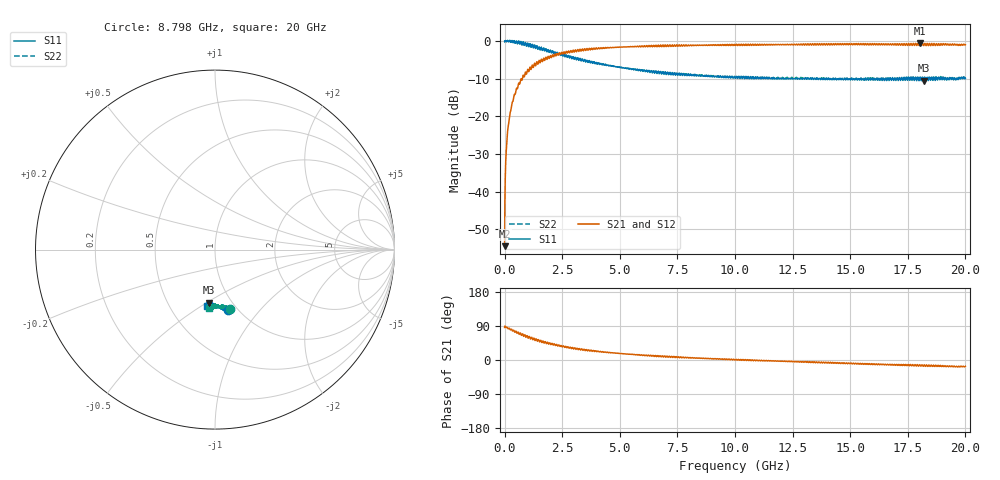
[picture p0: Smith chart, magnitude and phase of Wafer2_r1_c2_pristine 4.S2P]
!  2-Port S-parameters saved by WinCal
! VAR MeasName=S-Parameters (CALIBRATED_DATA) read from VNA (P5004A)
! VAR MeasDate=24/04/2024 15:57:28
! VAR NAME=Wafer2_r1_c2_pristine 4
! VAR FILENAME=Wafer2_r1_c2_pristine 4.S2P
! VAR DATE=24/04/2024 15:57:28
! VAR PHYS_PORTS=1,2
! VAR ObjTypeName=DATASET
! VAR IndexType=Frequency
# Hz S MA R 50
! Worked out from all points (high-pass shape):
!   4999 points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, 4.01 MHz to 20 GHz, reference 50 ohm
!   highest |S21| = -0.62 dB at 18.04 GHz (marker M1); lowest = -54.5 dB at 4.01 MHz (marker M2)
!   |S21| within 3 dB of the highest: 2.258 GHz to 2.314 GHz (56.02 MHz wide, 2.45 % of centre); 2.346 GHz to end of sweep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
!   lowest |S11| = -10.6 dB at 18.19 GHz (marker M3), VSWR 1.84, Z = 39.5 - j25.6 ohm
!   |S11| at or under -10 dB: 14.45 GHz to 14.55 GHz (91.77 MHz wide, 0.633 % of centre); 14.75 GHz to 15.14 GHz (391.8 MHz wide, 2.62 % of centre); 15.36 GHz to 15.74 GHz (387 MHz wide, 2.49 % of centre)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
!   |S22| runs from -10.3 to 0.1 dB; largest |S21 - S12| = 0.014
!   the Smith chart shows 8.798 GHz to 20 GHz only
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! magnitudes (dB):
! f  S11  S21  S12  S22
! 4.01 MHz  -0.1  -54.5  -54.4  -0.1
! 48.02 MHz  0.1  -32.8  -32.9  0.1
! 108 MHz  -0.1  -26.1  -26.0  -0.1
! 136 MHz  0.1  -23.9  -23.9  0.1
! 180 MHz  -0.2  -21.9  -21.9  -0.2
! 248.1 MHz  -0.1  -18.9  -19.0  0.0
! 348.1 MHz  -0.2  -16.2  -16.3  -0.2
! 464.1 MHz  -0.6  -14.1  -14.1  -0.6
! 624.1 MHz  -0.1  -11.2  -11.2  -0.2
! 824.2 MHz  -0.5  -9.2  -9.2  -0.5
! 1.04 GHz  -1.3  -8.1  -8.1  -1.3
! 1.56 GHz  -2.2  -5.6  -5.6  -2.2
! 2.348 GHz  -3.5  -3.6  -3.6  -3.5
! 3.341 GHz  -5.1  -2.5  -2.5  -5.1
! 4.797 GHz  -6.8  -1.6  -1.7  -6.7
! 6.673 GHz  -8.0  -1.1  -1.1  -8.1
! 10 GHz  -9.8  -1.1  -1.2  -9.7
! 13.33 GHz  -10.0  -1.0  -1.0  -9.9
! 16.67 GHz  -10.3  -0.9  -0.9  -9.9
! 18.04 GHz  -9.7  -0.6  -0.6  -9.8
! 18.19 GHz  -10.6  -1.2  -1.2  -10.1
! 20 GHz  -9.9  -1.0  -1.0  -9.7
